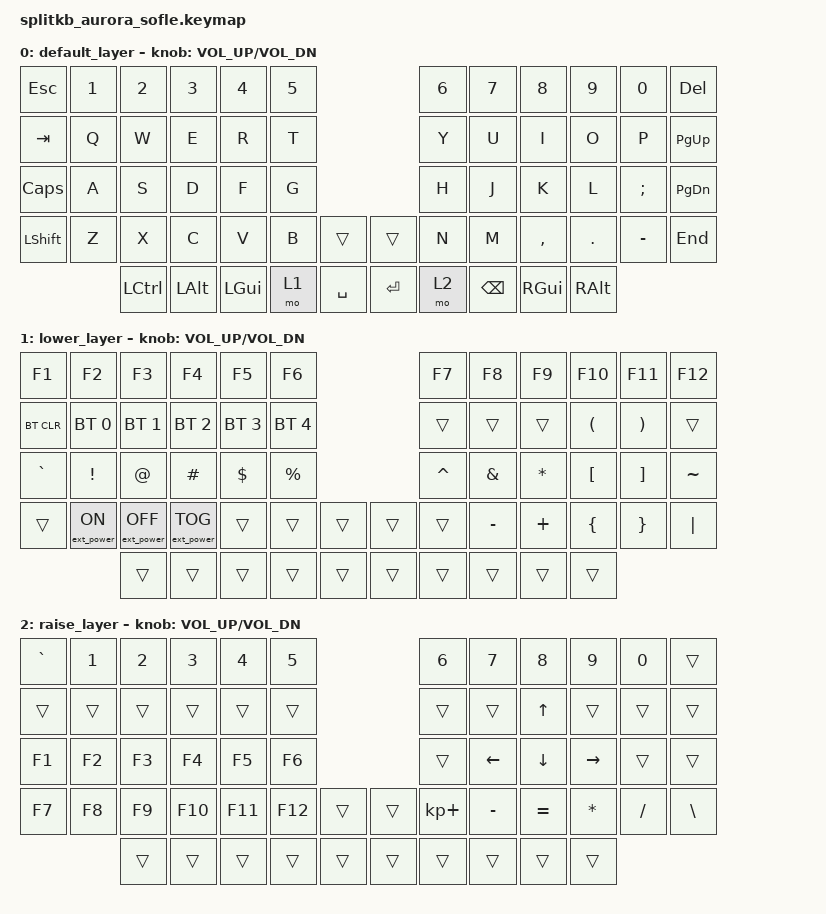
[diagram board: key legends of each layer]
/*
 * Copyright (c) 2023 The ZMK Contributors
 *
 * SPDX-License-Identifier: MIT
 */

#include <behaviors.dtsi>
#include <dt-bindings/zmk/keys.h>
#include <dt-bindings/zmk/bt.h>
#include <dt-bindings/zmk/ext_power.h>

// Uncomment this block if using RGB
&led_strip {
    chain-length = <6>;
    chain-length = <35>; // Uncomment if using both per-key and underglow LEDs
    //chain-length = <29>; // Uncomment if using only per-key LEDs.
};


/ {
    keymap {
        compatible = "zmk,keymap";

        default_layer {
// ------------------------------------------------------------------------------------------------------------
// |  ESC  |  1  |  2  |  3   |  4   |  5   |                   |  6   |  7    |  8    |  9   |   0   |  DEL  |
// |  TAB  |  Q  |  W  |  E   |  R   |  T   |                   |  Y   |  U    |  I    |  O   |   P   | PG_UP |
// |  CAPS |  A  |  S  |  D   |  F   |  G   |                   |  H   |  J    |  K    |  L   |   ;   | PG_DN |
// | SHIFT |  Z  |  X  |  C   |  V   |  B   |        |  |       |  N   |  M    |  ,    |  .   | MINUS |  END  |
//               |CTRL | ALT  | GUI  | LOWER|  SPACE |  | ENTER | RAISE| BSPC  | GUI   | RALT |
            bindings = <
&kp ESC   &kp N1 &kp N2    &kp N3   &kp N4   &kp N5                     &kp N6 &kp N7   &kp N8    &kp N9   &kp N0    &kp DEL
&kp TAB   &kp Q  &kp W     &kp E    &kp R    &kp T                      &kp Y  &kp U    &kp I     &kp O    &kp P     &kp PG_UP
&kp CAPS  &kp A  &kp S     &kp D    &kp F    &kp G                      &kp H  &kp J    &kp K     &kp L    &kp SEMI  &kp PG_DN
&kp LSHFT &kp Z  &kp X     &kp C    &kp V    &kp B  &trans     &trans   &kp N  &kp M    &kp COMMA &kp DOT  &kp MINUS &kp END
                 &kp LCTRL &kp LALT &kp LGUI &mo 1  &kp SPACE  &kp RET  &mo 2  &kp BSPC &kp RGUI  &kp RALT
            >;

            sensor-bindings = <&inc_dec_kp C_VOL_UP C_VOL_DN>;
        };

        lower_layer {
// ------------------------------------------------------------------------------------------------------------
// |  F1   |  F2 |  F3  |  F4  |  F5  |  F6  |                   |  F7  |  F8   |  F9   |  F10 |  F11  |  F12  |
// | BTCLR | BT1 | BT2  |  BT3 |  BT4 |  BT5 |                   |      |       |       |  (   |   )   |       |
// |   `   |  !  |  @   |  #   |  $   |  %   |                   |  ^   |  &    |  *    |  [   |   ]   |   ~   |
// |       | EON | EOFF | ETOG |      |      |        |  |       |      |  -    |  +    |  {   |   }   |  "|"  |
//               |      |      |      |      |        |  |       |      |       |       |      |
            bindings = <
&kp F1     &kp F2           &kp F3            &kp F4            &kp F5       &kp F6                       &kp F7    &kp F8    &kp F9    &kp F10   &kp F11   &kp F12
&bt BT_CLR &bt BT_SEL 0     &bt BT_SEL 1      &bt BT_SEL 2      &bt BT_SEL 3 &bt BT_SEL 4                 &trans    &trans    &trans    &kp LPAR  &kp RPAR  &trans
&kp GRAVE  &kp EXCL         &kp AT            &kp HASH          &kp DOLLAR   &kp PRCNT                    &kp CARET &kp AMPS  &kp STAR  &kp LBKT  &kp RBKT  &kp TILDE
&trans     &ext_power EP_ON &ext_power EP_OFF &ext_power EP_TOG &trans       &trans    &trans   &trans    &trans    &kp MINUS &kp PLUS  &kp LBRC  &kp RBRC  &kp PIPE
                            &trans            &trans            &trans       &trans    &trans   &trans    &trans    &trans    &trans    &trans
            >;

            sensor-bindings = <&inc_dec_kp C_VOL_UP C_VOL_DN>;
        };

        raise_layer {
// ------------------------------------------------------------------------------------------------------------
// |   `   |  1  |  2  |  3   |  4   |  5   |                   |  6   |   7   |   8   |  9   |   0   |       |
// |       |     |     |      |      |      |                   |      |       |   ^   |      |       |       |
// |   F1  |  F2 |  F3 |  F4  |  F5  |  F6  |                   |      |   <   |   v   |  >   |       |       |
// |   F7  |  F8 |  F9 |  F10 |  F11 |  F12 |        |  |       |  +   |   -   |   =   |  *   |   /   |   \   |
//               |     |      |      |      |        |  |       |      |       |       |      |
            bindings = <
&kp GRAVE &kp N1 &kp N2 &kp N3  &kp N4  &kp N5                       &kp N6      &kp N7    &kp N8    &kp N9    &kp N0    &trans
&trans    &trans &trans &trans  &trans  &trans                       &trans      &trans    &kp UP    &trans    &trans    &trans
&kp F1    &kp F2 &kp F3 &kp F4  &kp F5  &kp F6                       &trans      &kp LEFT  &kp DOWN  &kp RIGHT &trans    &trans
&kp F7    &kp F8 &kp F9 &kp F10 &kp F11 &kp F12   &trans   &trans    &kp KP_PLUS &kp MINUS &kp EQUAL &kp STAR  &kp FSLH  &kp BSLH
                 &trans &trans  &trans  &trans    &trans   &trans    &trans      &trans    &trans    &trans
            >;

            sensor-bindings = <&inc_dec_kp C_VOL_UP C_VOL_DN>;
        };
    };
};
